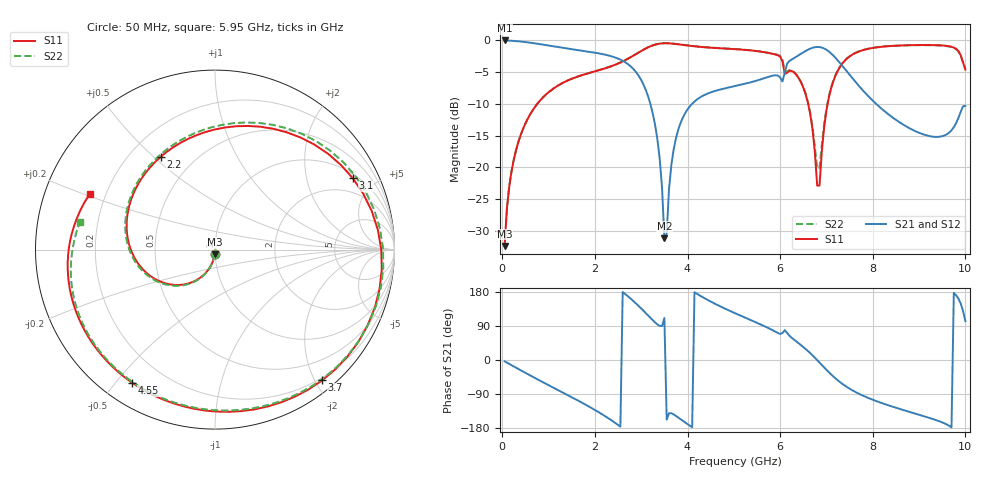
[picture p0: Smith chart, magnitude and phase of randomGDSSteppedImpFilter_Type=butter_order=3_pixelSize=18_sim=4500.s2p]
! freq	dB(S11)	phase(S11)	dB(S12)	phase(S12)
!  dB(S21)	phase(S21)	dB(S22)	phase(S22)
!S-par simulation data
#  GHz  S  DB  R 50
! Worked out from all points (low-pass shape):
!   200 points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, 50 MHz to 10 GHz, reference 50 ohm
!   highest |S21| = -0.01 dB at 50 MHz (marker M1); lowest = -31.2 dB at 3.5 GHz (marker M2)
!   |S21| within 3 dB of the highest: start of sweep to 2.544 GHz; 6.25 GHz to 7.226 GHz (976.6 MHz wide, 14.5 % of centre)
!   lowest |S11| = -32.4 dB at 50 MHz (marker M3), VSWR 1.05, Z = 49.8 - j2.39 ohm
!   |S11| at or under -10 dB: start of sweep to 756.1 MHz; 6.605 GHz to 7.026 GHz (421.5 MHz wide, 6.18 % of centre)
!   |S22| runs from -32.4 to -0.4 dB; largest |S21 - S12| = 0
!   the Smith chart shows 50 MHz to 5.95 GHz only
!   S11 on the Smith chart (normalised r, x): 50 MHz: 1.00, -0.05; 2.2 GHz: 0.33, +0.53; 3.1 GHz: 1.19, +3.76; 3.7 GHz: 0.16, -2.10; 4.55 GHz: 0.09, -0.55; 5.95 GHz: 0.14, +0.21
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0.05  -32.39 -93.9  -0.01 -3.5  -0.01 -3.5  -32.44 -93.9
0.2  -20.61 -104.5  -0.06 -13.8  -0.06 -13.8  -20.61 -104.1
0.5  -13.08 -125.0  -0.26 -34.0  -0.26 -34.0  -13.08 -124.1
1.1  -7.61 -164.6  -0.92 -72.9  -0.92 -72.9  -7.61 -162.4
1.75  -5.41 152.9  -1.65 -114.6  -1.65 -114.6  -5.41 156.6
2.2  -4.45 120.3  -2.21 -146.6  -2.21 -146.6  -4.45 125.1
2.75  -2.74 69.9  -3.95 164.3  -3.95 164.3  -2.74 76.1
3.1  -1.26 27.3  -7.83 123.5  -7.83 123.5  -1.26 34.2
3.4  -0.51 -13.5  -18.70 89.9  -18.70 89.9  -0.51 -6.4
3.5  -0.45 -26.6  -31.20 110.8  -31.20 110.8  -0.44 -19.4
3.7  -0.52 -50.7  -17.19 -143.5  -17.19 -143.5  -0.51 -43.4
4.55  -1.17 -121.8  -8.07 151.1  -8.07 151.1  -1.16 -113.6
5.05  -1.39 -151.1  -7.17 122.1  -7.17 122.1  -1.38 -141.9
5.95  -2.34 156.0  -5.55 71.3  -5.55 71.3  -2.28 168.7
6.3  -5.05 140.2  -2.79 53.6  -2.79 53.6  -5.00 153.1
6.7  -14.09 111.4  -1.16 12.1  -1.16 12.1  -13.70 131.6
6.85  -22.88 -161.9  -1.05 -6.7  -1.05 -6.7  -20.05 -157.3
7  -11.03 -135.8  -1.48 -25.9  -1.48 -25.9  -10.73 -128.1
7.25  -4.71 -157.7  -3.20 -54.2  -3.20 -54.2  -4.63 -145.9
8.35  -0.90 136.4  -11.72 -120.1  -11.72 -120.1  -0.89 154.3
9.5  -0.79 90.6  -15.11 -164.7  -15.11 -164.7  -0.82 113.6
10  -4.60 75.1  -10.31 102.5  -10.31 102.5  -4.49 101.1
